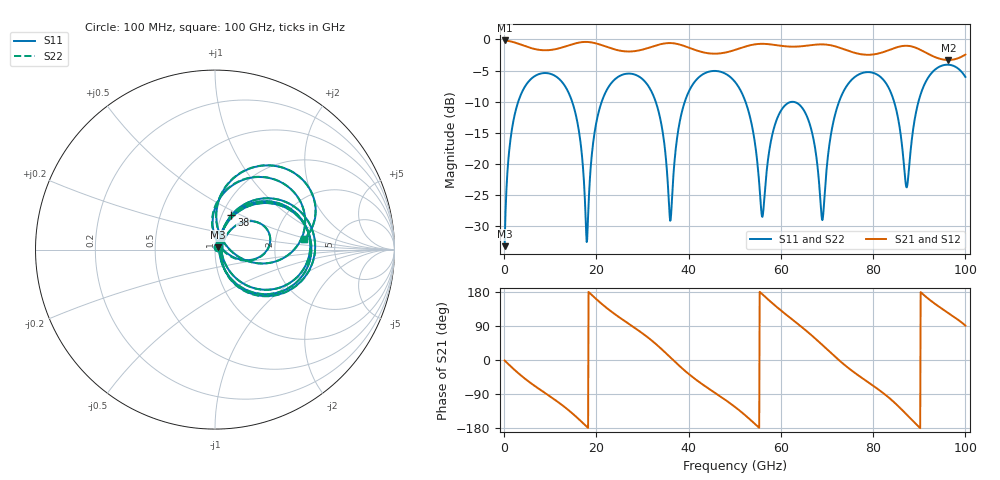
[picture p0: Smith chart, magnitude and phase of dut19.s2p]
! Touchstone file exported from HFSS 2026.1.0
!  File:  C:/ffzhzh/LocalFiles/Ansys_Project_Files/temp_train_TSV_RDL_19_1783438631_41684.aedt
!  Generated:  11:49:04 PM Jul  7, 2026
!  Design:  TSV_RDL
!  Project:  temp_train_TSV_RDL_19_1783438631_41684
! Variables:
!  h_bsmrdl = 3.38um
!  h_ox = 20um
!  h_rdl = 5um
!  h_sub = 69.42um
!  h_tmrdl = 3.55um
!  h_tsv = 69.42um
!  h_via = 3um
!  l_bsmrdl = 650.48um
!  l_sub = 3323.15um
!  l_tmrdl = 217.39um
!  m_sub = 200um
!  pitch = 44.78um
!  r_tsv = 8.32um
!  s_tmrdl = 10um
!  w_bsmrdl = 19.36um
!  w_sub = 500um
!  w_tmrdl = 14.69um
!  x_tsv_center1 = 224.735um
!  x_tsv_center2 = 894.575um
!  x_tsv_center3 = 1126.655um
!  x_tsv_center4 = 1796.495um
!  x_tsv_center5 = 2028.575um
!  x_tsv_center6 = 2698.415um
# GHz S MA R 50.000000
! Terminal data exported
! Port[1] = TM_RDL1_1_T1
! Port[2] = TM_RDL5_1_T1
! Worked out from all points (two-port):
!   1000 points, 100 MHz to 100 GHz, reference 50 ohm
!   highest |S21| = -0.16 dB at 100 MHz (marker M1); lowest = -3.3 dB at 96.3 GHz (marker M2)
!   |S21| within 3 dB of the highest: start of sweep to 94.73 GHz; 97.82 GHz to end of sweep
!   lowest |S11| = -33.3 dB at 100 MHz (marker M3), VSWR 1.04, Z = 51.8 + j1.25 ohm
!   |S11| at or under -10 dB: 14.74 GHz to 21.16 GHz (6.423 GHz wide, 35.8 % of centre); 32.85 GHz to 39.17 GHz (6.325 GHz wide, 17.6 % of centre); 52.31 GHz to 72.61 GHz (20.3 GHz wide, 32.5 % of centre) (the widest 3 of 5)
!   |S22| runs from -33.3 to -4.1 dB; largest |S21 - S12| = 3.9e-12
!   S11 on the Smith chart (normalised r, x): 100 MHz: 1.04, +0.03; 38 GHz: 1.11, +0.44; 100 GHz: 2.92, +0.44
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0.1  0.0217 33.8  0.9822 -1.2  0.9822 -1.2  0.0217 33.8
! Gamma 0 0 0 0
! Port Impedance 50 0 50 0
1.9  0.2109 61.7  0.9551 -22.1  0.9551 -22.1  0.2109 61.7
5.8  0.4799 26.2  0.853 -61.2  0.853 -61.2  0.4799 26.2
13  0.4323 -33.0  0.8723 -123.0  0.8723 -123.0  0.4323 -33.0
16.8  0.1236 -64.2  0.9515 -163.1  0.9515 -163.1  0.1236 -64.0
18  0.02458 20.4  0.9554 -176.9  0.9554 -176.9  0.02505 20.1
20.1  0.2256 62.4  0.9263 159.3  0.9263 159.3  0.2258 62.3
24  0.4778 28.5  0.8309 121.0  0.8309 121.0  0.4779 28.4
33.4  0.2705 -48.1  0.906 36.8  0.906 36.8  0.2706 -48.2
36  0.03473 0.5  0.936 7.3  0.936 7.3  0.03473 0.4
38  0.2113 64.6  0.9118 -15.6  0.9118 -15.6  0.2114 64.5
50.1  0.4534 -31.9  0.8254 -124.4  0.8254 -124.4  0.4535 -32.2
56  0.03735 -1.6  0.9228 173.2  0.9228 173.2  0.03637 -1.9
60.2  0.2741 34.5  0.8875 128.9  0.8875 128.9  0.2741 34.4
66.7  0.1817 -18.9  0.9022 64.7  0.9022 64.7  0.1816 -20.0
69  0.03517 38.0  0.9136 39.4  0.9136 39.4  0.03115 37.2
73.7  0.3897 72.3  0.8336 -12.0  0.8336 -12.0  0.3889 72.8
83.4  0.4063 -4.6  0.8206 -99.3  0.8206 -99.3  0.4061 -4.5
87.3  0.06457 38.2  0.8901 -144.6  0.8901 -144.6  0.06317 38.2
90.6  0.3903 77.3  0.8134 175.7  0.8134 175.7  0.3897 77.6
96.3  0.6266 32.9  0.6835 124.1  0.6835 124.1  0.6263 33.1
100  0.4994 6.6  0.7562 90.8  0.7562 90.8  0.4994 6.8
